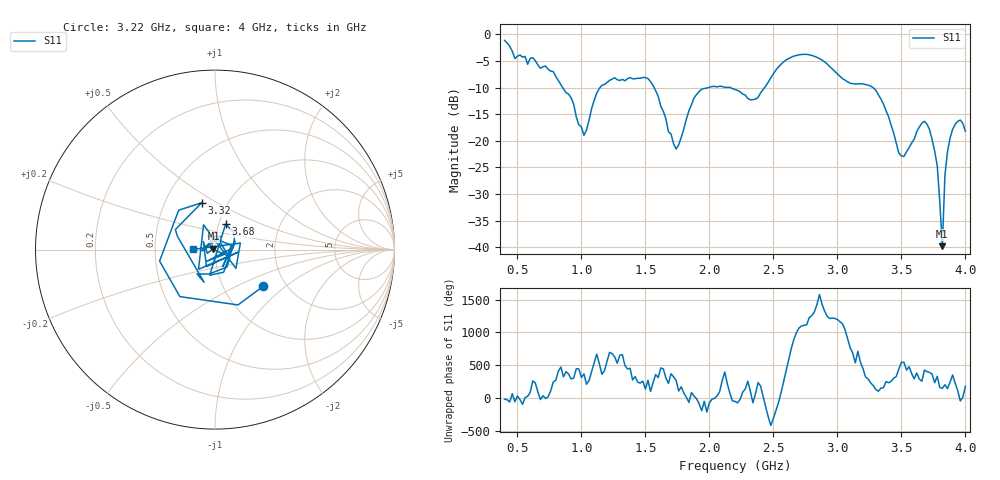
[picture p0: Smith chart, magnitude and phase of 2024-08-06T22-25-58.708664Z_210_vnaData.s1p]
!Created with skrf (http://scikit-rf.org).
# Hz S RI R 50.0
!freq ReS11 ImS11
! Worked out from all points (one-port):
!   181 points, 400 MHz to 4 GHz, reference 50 ohm
!   lowest |S11| = -39.8 dB at 3.82 GHz (marker M1), VSWR 1.02, Z = 49.1 + j0.517 ohm
!   |S11| at or under -10 dB: 853.8 MHz to 1.145 GHz (291.4 MHz wide, 29.2 % of centre); 1.568 GHz to 1.99 GHz (422 MHz wide, 23.7 % of centre); 3.278 GHz to end of sweep (the widest 3 of 4)
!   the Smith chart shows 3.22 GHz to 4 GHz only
!   S11 on the Smith chart (normalised r, x): 3.22 GHz: 1.54, -0.71; 3.32 GHz: 0.76, +0.43; 3.68 GHz: 1.08, +0.31; 4 GHz: 0.78, +0.00
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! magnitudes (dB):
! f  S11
! 400 MHz  -1.1
! 480 MHz  -4.5
! 620 MHz  -4.4
! 860 MHz  -10.2
! 1.02 GHz  -19.0
! 1.14 GHz  -10.2
! 1.3 GHz  -8.7
! 1.52 GHz  -8.3
! 1.72 GHz  -20.5
! 1.76 GHz  -20.7
! 1.92 GHz  -10.7
! 2.2 GHz  -10.4
! 2.36 GHz  -12.2
! 2.66 GHz  -4.1
! 2.84 GHz  -4.3
! 3.1 GHz  -9.2
! 3.22 GHz  -9.4
! 3.32 GHz  -11.3
! 3.48 GHz  -22.3
! 3.56 GHz  -21.3
! 3.68 GHz  -16.3
! 3.72 GHz  -17.9
! 3.78 GHz  -24.7
! 3.82 GHz  -39.8
! 3.84 GHz  -26.5
! 3.88 GHz  -19.5
! 3.96 GHz  -16.1
! 4 GHz  -18.2
